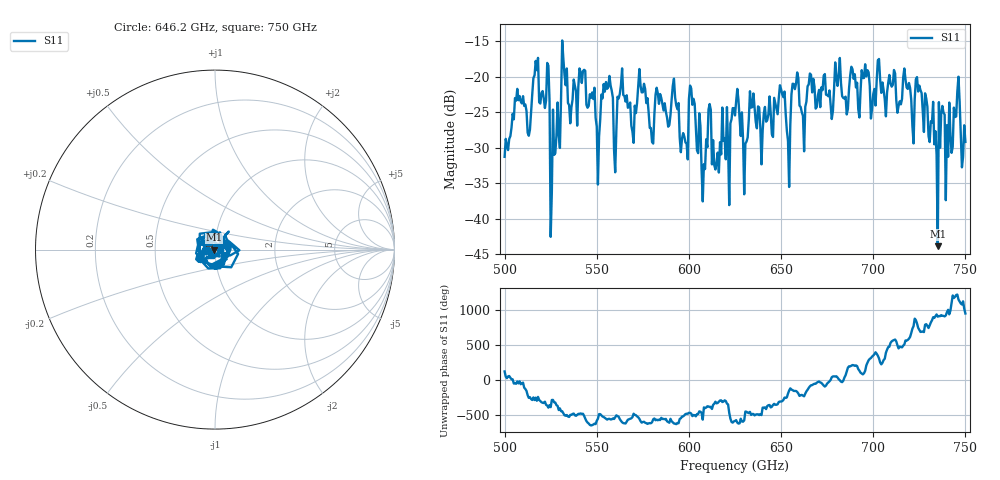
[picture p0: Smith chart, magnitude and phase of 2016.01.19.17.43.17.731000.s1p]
!Created with skrf (http://scikit-rf.org).
# GHz S RI R 50.0
!freq ReS11 ImS11
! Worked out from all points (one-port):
!   401 points, 500 GHz to 750 GHz, reference 50 ohm
!   lowest |S11| = -43.9 dB at 735 GHz (marker M1), VSWR 1.01, Z = 49.4 - j0.094 ohm
!   |S11| at or under -10 dB: start of sweep to end of sweep
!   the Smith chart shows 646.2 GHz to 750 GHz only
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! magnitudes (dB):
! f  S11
! 500 GHz  -31.3
! 506.9 GHz  -21.7
! 513.1 GHz  -28.3
! 516.9 GHz  -17.7
! 523.1 GHz  -18.0
! 526.2 GHz  -24.6
! 531.2 GHz  -14.9
! 542.5 GHz  -19.2
! 550.6 GHz  -35.2
! 553.8 GHz  -21.0
! 562.5 GHz  -22.4
! 593.8 GHz  -24.6
! 598.1 GHz  -29.3
! 601.9 GHz  -23.9
! 608.1 GHz  -32.3
! 610.6 GHz  -24.6
! 615 GHz  -32.1
! 625 GHz  -25.4
! 630.6 GHz  -29.4
! 634.4 GHz  -24.3
! 650.6 GHz  -22.5
! 653.8 GHz  -29.0
! 656.2 GHz  -21.0
! 687.5 GHz  -19.8
! 718.8 GHz  -21.7
! 735 GHz  -43.9
! 745.6 GHz  -22.1
! 750 GHz  -29.2
